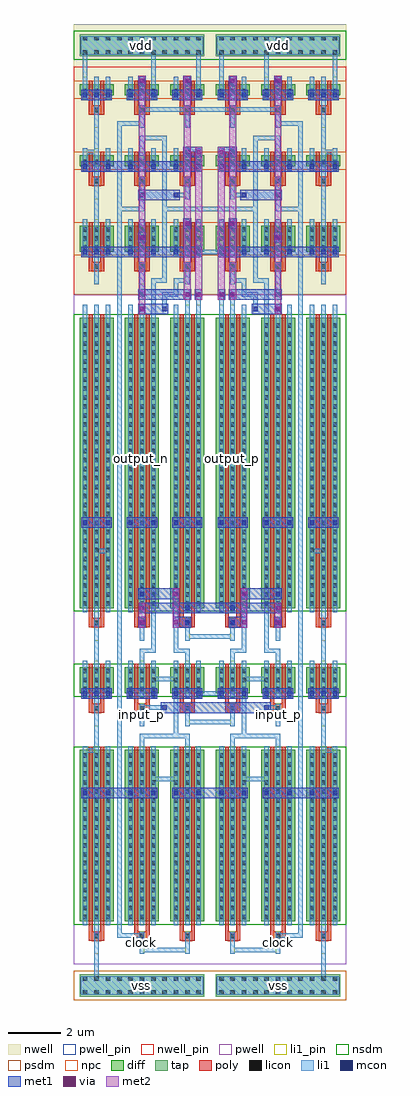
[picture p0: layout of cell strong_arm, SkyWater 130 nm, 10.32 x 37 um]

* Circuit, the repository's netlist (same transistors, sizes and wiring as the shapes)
* Substrate SPICE library
* This is a generated file. Be careful when editing manually: this file may be overwritten.


.SUBCKT nmos_tile_w6500_l150_nf2 sd_0 sd_1 sd_2 g_0 b

  Minst0 sd_0 g_0 sd_1 b nfet_01v8 l=0.150u mult=1 nf=1 w=6.500u

  Minst1 sd_1 g_0 sd_2 b nfet_01v8 l=0.150u mult=1 nf=1 w=6.500u


.ENDS nmos_tile_w6500_l150_nf2

.SUBCKT nmos_tile_w1000_l150_nf2 sd_0 sd_1 sd_2 g_0 b

  Minst0 sd_0 g_0 sd_1 b nfet_01v8 l=0.150u mult=1 nf=1 w=1.000u

  Minst1 sd_1 g_0 sd_2 b nfet_01v8 l=0.150u mult=1 nf=1 w=1.000u


.ENDS nmos_tile_w1000_l150_nf2

.SUBCKT nmos_tile_w11000_l150_nf2 sd_0 sd_1 sd_2 g_0 b

  Minst0 sd_0 g_0 sd_1 b nfet_01v8 l=0.150u mult=1 nf=1 w=11.000u

  Minst1 sd_1 g_0 sd_2 b nfet_01v8 l=0.150u mult=1 nf=1 w=11.000u


.ENDS nmos_tile_w11000_l150_nf2

.SUBCKT pmos_tile_w1000_l150_nf2 sd_0 sd_1 sd_2 g_0 b

  Minst0 sd_0 g_0 sd_1 b pfet_01v8 l=0.150u mult=1 nf=1 w=1.000u

  Minst1 sd_1 g_0 sd_2 b pfet_01v8 l=0.150u mult=1 nf=1 w=1.000u


.ENDS pmos_tile_w1000_l150_nf2

.SUBCKT pmos_tile_w420_l150_nf2 sd_0 sd_1 sd_2 g_0 b

  Minst0 sd_0 g_0 sd_1 b pfet_01v8 l=0.150u mult=1 nf=1 w=0.420u

  Minst1 sd_1 g_0 sd_2 b pfet_01v8 l=0.150u mult=1 nf=1 w=0.420u


.ENDS pmos_tile_w420_l150_nf2

.SUBCKT strong_arm_half top_io_input_p top_io_input_n top_io_output_p top_io_output_n top_io_clock top_io_vdd top_io_vss input_d_p input_d_n tail_d

  Xinst0 top_io_vss top_io_vss top_io_vss top_io_vss top_io_vss nmos_tile_w6500_l150_nf2
  Xinst1 top_io_vss tail_d top_io_vss top_io_clock top_io_vss nmos_tile_w6500_l150_nf2
  Xinst2 top_io_vss tail_d top_io_vss top_io_clock top_io_vss nmos_tile_w6500_l150_nf2
  Xinst3 tail_d input_d_n tail_d top_io_input_p top_io_vss nmos_tile_w1000_l150_nf2
  Xinst4 tail_d intp tail_d top_io_input_n top_io_vss nmos_tile_w1000_l150_nf2
  Xinst5 top_io_vss top_io_vss top_io_vss top_io_vss top_io_vss nmos_tile_w1000_l150_nf2
  Xinst6 input_d_n top_io_output_n input_d_n top_io_output_p top_io_vss nmos_tile_w11000_l150_nf2
  Xinst7 intp top_io_output_p intp top_io_output_n top_io_vss nmos_tile_w11000_l150_nf2
  Xinst8 top_io_vss top_io_vss top_io_vss top_io_vss top_io_vss nmos_tile_w11000_l150_nf2
  Xinst9 top_io_vdd top_io_output_n top_io_vdd top_io_output_p top_io_vdd pmos_tile_w1000_l150_nf2
  Xinst10 top_io_vdd top_io_output_p top_io_vdd top_io_output_n top_io_vdd pmos_tile_w1000_l150_nf2
  Xinst11 top_io_vdd top_io_vdd top_io_vdd top_io_vdd top_io_vdd pmos_tile_w1000_l150_nf2
  Xinst12 top_io_vdd top_io_output_n top_io_vdd top_io_clock top_io_vdd pmos_tile_w420_l150_nf2
  Xinst13 top_io_vdd top_io_output_p top_io_vdd top_io_clock top_io_vdd pmos_tile_w420_l150_nf2
  Xinst14 top_io_vdd top_io_vdd top_io_vdd top_io_vdd top_io_vdd pmos_tile_w420_l150_nf2
  Xinst15 top_io_vdd input_d_n top_io_vdd top_io_clock top_io_vdd pmos_tile_w420_l150_nf2
  Xinst16 top_io_vdd intp top_io_vdd top_io_clock top_io_vdd pmos_tile_w420_l150_nf2
  Xinst17 top_io_vdd top_io_vdd top_io_vdd top_io_vdd top_io_vdd pmos_tile_w420_l150_nf2

.ENDS strong_arm_half

.SUBCKT strong_arm input_p input_n output_p output_n clock vdd vss

  Xinst0 input_p input_n output_p output_n clock vdd vss input_d_p input_d_n tail_d strong_arm_half
  Xinst1 input_p input_n output_p output_n clock vdd vss input_d_p input_d_n tail_d strong_arm_half

.ENDS strong_arm

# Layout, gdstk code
from math import pi, radians
import gdstk
lib = gdstk.Library(unit=1e-6, precision=1e-09)
def R(c, l, rs):  # rectangles x0, y0, x1, y1
    for r in rs: c.add(gdstk.rectangle(r[:2], r[2:], *l))
def A(c, l, x, y, w, h, nx, ny, dx, dy):  # array of equal rectangles
    R(c, l, [(x+i*dx, y+j*dy, x+i*dx+w, y+j*dy+h) for i in range(nx) for j in range(ny)])
nwell_pin = (64, 16)
nwell = (64, 20)
pwell = (64, 44)
diff = (65, 20)
tap = (65, 44)
poly = (66, 20)
licon = (66, 44)
li1_pin = (67, 16)
li1 = (67, 20)
mcon = (67, 44)
met1 = (68, 20)
via = (68, 44)
met2 = (69, 20)
nsdm = (93, 44)
psdm = (94, 20)
npc = (95, 20)
pwell_pin = (122, 16)

ptap_tile_x11_y2 = lib.new_cell('ptap_tile_x11_y2')
R(ptap_tile_x11_y2, tap, [(-0.205,-0.15,4.505,0.69)])
A(ptap_tile_x11_y2, licon, -0.085, -0.085, 0.17, 0.17, 11, 2, 0.43, 0.54)
R(ptap_tile_x11_y2, li1_pin, [(-0.165,-0.085,4.465,0.625)])
R(ptap_tile_x11_y2, li1, [(-0.165,-0.085,4.465,0.625)])
R(ptap_tile_x11_y2, psdm, [(-0.43,-0.28,4.73,0.82)])
ptap_tile_x11_y2.add(gdstk.Label('vnb', (2.15,0.27), layer=67, texttype=5))

ptap_tile = lib.new_cell('ptap_tile')
R(ptap_tile, li1_pin, [(-0.165,-0.085,4.465,0.625)])
ptap_tile.add(gdstk.Reference(ptap_tile_x11_y2, (0,0)))
ptap_tile.add(gdstk.Label('x', (2.15,0.27), layer=67, texttype=5))

ntap_tile_x11_y2 = lib.new_cell('ntap_tile_x11_y2')
R(ntap_tile_x11_y2, nwell, [(-0.43,-0.54,4.73,1.08)])
R(ntap_tile_x11_y2, tap, [(-0.205,-0.15,4.505,0.69)])
A(ntap_tile_x11_y2, licon, -0.085, -0.085, 0.17, 0.17, 11, 2, 0.43, 0.54)
R(ntap_tile_x11_y2, li1_pin, [(-0.165,-0.085,4.465,0.625)])
R(ntap_tile_x11_y2, li1, [(-0.165,-0.085,4.465,0.625)])
R(ntap_tile_x11_y2, nsdm, [(-0.43,-0.28,4.73,0.82)])
ntap_tile_x11_y2.add(gdstk.Label('vpb', (2.15,0.27), layer=67, texttype=5))

ntap_tile = lib.new_cell('ntap_tile')
R(ntap_tile, li1_pin, [(-0.165,-0.085,4.465,0.625)])
ntap_tile.add(gdstk.Reference(ntap_tile_x11_y2, (0,0)))
ntap_tile.add(gdstk.Label('x', (2.15,0.27), layer=67, texttype=5))

nmos_tile_w6500_l150_nf2 = lib.new_cell('nmos_tile_w6500_l150_nf2')
R(nmos_tile_w6500_l150_nf2, pwell, [(0,-1.62,1.72,7.02)])
R(nmos_tile_w6500_l150_nf2, diff, [(0.215,0,1.505,6.5)])
R(nmos_tile_w6500_l150_nf2, poly, [(0.57,-0.735,0.945,-0.385), (0.57,-0.735,0.72,6.63), (0.775,-0.735,1.15,-0.385), (1,-0.735,1.15,6.63)])
A(nmos_tile_w6500_l150_nf2, licon, 0.345, 0.08, 0.17, 0.17, 3, 19, 0.43, 0.34)
R(nmos_tile_w6500_l150_nf2, licon, [(0.775,-0.645,0.945,-0.475)])
A(nmos_tile_w6500_l150_nf2, li1_pin, 0.345, -0.155, 0.17, 6.79, 3, 1, 0.43, 0)
R(nmos_tile_w6500_l150_nf2, li1_pin, [(0.775,-1.235,0.945,-0.385)])
A(nmos_tile_w6500_l150_nf2, li1, 0.345, -0.155, 0.17, 6.79, 3, 1, 0.43, 0)
R(nmos_tile_w6500_l150_nf2, li1, [(0.775,-1.235,0.945,-0.385)])
R(nmos_tile_w6500_l150_nf2, nsdm, [(0,-0.13,1.72,6.63)])
R(nmos_tile_w6500_l150_nf2, npc, [(0.675,-0.745,1.045,-0.375)])
R(nmos_tile_w6500_l150_nf2, pwell_pin, [(0,-1.62,1.72,7.02)])
nmos_tile_w6500_l150_nf2.add(gdstk.Label('sd_0', (0.43,3.24), layer=67, texttype=5))
nmos_tile_w6500_l150_nf2.add(gdstk.Label('sd_1', (0.86,3.24), layer=67, texttype=5))
nmos_tile_w6500_l150_nf2.add(gdstk.Label('sd_2', (1.29,3.24), layer=67, texttype=5))
nmos_tile_w6500_l150_nf2.add(gdstk.Label('g_0', (0.86,-0.81), layer=67, texttype=5))
nmos_tile_w6500_l150_nf2.add(gdstk.Label('b', (0.86,2.7), layer=64, texttype=59))

two_finger_mos_tile = lib.new_cell('two_finger_mos_tile')
A(two_finger_mos_tile, li1_pin, 0.345, -0.155, 0.17, 6.79, 3, 1, 0.43, 0)
R(two_finger_mos_tile, li1_pin, [(0.775,-1.235,0.945,-0.385)])
R(two_finger_mos_tile, li1, [(0.345,4.775,0.515,4.945), (0.345,4.775,0.515,4.945), (1.205,4.775,1.375,4.945), (1.205,4.775,1.375,4.945)])
R(two_finger_mos_tile, mcon, [(0.345,4.775,0.515,4.945), (1.205,4.775,1.375,4.945)])
R(two_finger_mos_tile, met1, [(0.285,4.66,0.575,5.06), (0.345,4.66,0.945,5.06), (0.775,4.66,1.375,5.06), (1.145,4.66,1.435,5.06)])
R(two_finger_mos_tile, pwell_pin, [(0,-1.62,1.72,7.02)])
two_finger_mos_tile.add(gdstk.Reference(nmos_tile_w6500_l150_nf2, (0,0)))
two_finger_mos_tile.add(gdstk.Label('d', (0.86,3.24), layer=67, texttype=5))
two_finger_mos_tile.add(gdstk.Label('g', (0.86,-0.81), layer=67, texttype=5))
two_finger_mos_tile.add(gdstk.Label('s', (1.29,3.24), layer=67, texttype=5))
two_finger_mos_tile.add(gdstk.Label('s', (0.43,3.24), layer=67, texttype=5))
two_finger_mos_tile.add(gdstk.Label('b', (0.86,2.7), layer=64, texttype=59))

nmos_tile_w1000_l150_nf2 = lib.new_cell('nmos_tile_w1000_l150_nf2')
R(nmos_tile_w1000_l150_nf2, pwell, [(0,-1.62,1.72,1.62)])
R(nmos_tile_w1000_l150_nf2, diff, [(0.215,0,1.505,1)])
R(nmos_tile_w1000_l150_nf2, poly, [(0.57,-0.735,0.945,-0.385), (0.57,-0.735,0.72,1.13), (0.775,-0.735,1.15,-0.385), (1,-0.735,1.15,1.13)])
A(nmos_tile_w1000_l150_nf2, licon, 0.345, 0.08, 0.17, 0.17, 3, 3, 0.43, 0.34)
R(nmos_tile_w1000_l150_nf2, licon, [(0.775,-0.645,0.945,-0.475)])
A(nmos_tile_w1000_l150_nf2, li1_pin, 0.345, -0.155, 0.17, 1.39, 3, 1, 0.43, 0)
R(nmos_tile_w1000_l150_nf2, li1_pin, [(0.775,-1.235,0.945,-0.385)])
A(nmos_tile_w1000_l150_nf2, li1, 0.345, -0.155, 0.17, 1.39, 3, 1, 0.43, 0)
R(nmos_tile_w1000_l150_nf2, li1, [(0.775,-1.235,0.945,-0.385)])
R(nmos_tile_w1000_l150_nf2, nsdm, [(0,-0.13,1.72,1.13)])
R(nmos_tile_w1000_l150_nf2, npc, [(0.675,-0.745,1.045,-0.375)])
R(nmos_tile_w1000_l150_nf2, pwell_pin, [(0,-1.62,1.72,1.62)])
nmos_tile_w1000_l150_nf2.add(gdstk.Label('sd_0', (0.43,0.54), layer=67, texttype=5))
nmos_tile_w1000_l150_nf2.add(gdstk.Label('sd_1', (0.86,0.54), layer=67, texttype=5))
nmos_tile_w1000_l150_nf2.add(gdstk.Label('sd_2', (1.29,0.54), layer=67, texttype=5))
nmos_tile_w1000_l150_nf2.add(gdstk.Label('g_0', (0.86,-0.81), layer=67, texttype=5))
nmos_tile_w1000_l150_nf2.add(gdstk.Label('b', (0.86,0), layer=64, texttype=59))

two_finger_mos_tile_1 = lib.new_cell('two_finger_mos_tile_1')
A(two_finger_mos_tile_1, li1_pin, 0.345, -0.155, 0.17, 1.39, 3, 1, 0.43, 0)
R(two_finger_mos_tile_1, li1_pin, [(0.775,-1.235,0.945,-0.385)])
R(two_finger_mos_tile_1, li1, [(0.345,-0.085,0.515,0.085), (0.345,-0.085,0.515,0.085), (1.205,-0.085,1.375,0.085), (1.205,-0.085,1.375,0.085)])
R(two_finger_mos_tile_1, mcon, [(0.345,-0.085,0.515,0.085), (1.205,-0.085,1.375,0.085)])
R(two_finger_mos_tile_1, met1, [(0.285,-0.2,0.575,0.2), (0.345,-0.2,0.945,0.2), (0.775,-0.2,1.375,0.2), (1.145,-0.2,1.435,0.2)])
R(two_finger_mos_tile_1, pwell_pin, [(0,-1.62,1.72,1.62)])
two_finger_mos_tile_1.add(gdstk.Reference(nmos_tile_w1000_l150_nf2, (0,0)))
two_finger_mos_tile_1.add(gdstk.Label('d', (0.86,0.54), layer=67, texttype=5))
two_finger_mos_tile_1.add(gdstk.Label('g', (0.86,-0.81), layer=67, texttype=5))
two_finger_mos_tile_1.add(gdstk.Label('s', (1.29,0.54), layer=67, texttype=5))
two_finger_mos_tile_1.add(gdstk.Label('s', (0.43,0.54), layer=67, texttype=5))
two_finger_mos_tile_1.add(gdstk.Label('b', (0.86,0), layer=64, texttype=59))

nmos_tile_w11000_l150_nf = lib.new_cell('nmos_tile_w11000_l150_nf2')
R(nmos_tile_w11000_l150_nf, pwell, [(0,-1.62,1.72,11.88)])
R(nmos_tile_w11000_l150_nf, diff, [(0.215,0,1.505,11)])
R(nmos_tile_w11000_l150_nf, poly, [(0.57,-0.735,0.945,-0.385), (0.57,-0.735,0.72,11.13), (0.775,-0.735,1.15,-0.385), (1,-0.735,1.15,11.13)])
A(nmos_tile_w11000_l150_nf, licon, 0.345, 0.08, 0.17, 0.17, 3, 32, 0.43, 0.34)
R(nmos_tile_w11000_l150_nf, licon, [(0.775,-0.645,0.945,-0.475)])
A(nmos_tile_w11000_l150_nf, li1_pin, 0.345, -0.155, 0.17, 11.65, 3, 1, 0.43, 0)
R(nmos_tile_w11000_l150_nf, li1_pin, [(0.775,-1.235,0.945,-0.385)])
A(nmos_tile_w11000_l150_nf, li1, 0.345, -0.155, 0.17, 11.65, 3, 1, 0.43, 0)
R(nmos_tile_w11000_l150_nf, li1, [(0.775,-1.235,0.945,-0.385)])
R(nmos_tile_w11000_l150_nf, nsdm, [(0,-0.13,1.72,11.13)])
R(nmos_tile_w11000_l150_nf, npc, [(0.675,-0.745,1.045,-0.375)])
R(nmos_tile_w11000_l150_nf, pwell_pin, [(0,-1.62,1.72,11.88)])
nmos_tile_w11000_l150_nf.add(gdstk.Label('sd_0', (0.43,5.67), layer=67, texttype=5))
nmos_tile_w11000_l150_nf.add(gdstk.Label('sd_1', (0.86,5.67), layer=67, texttype=5))
nmos_tile_w11000_l150_nf.add(gdstk.Label('sd_2', (1.29,5.67), layer=67, texttype=5))
nmos_tile_w11000_l150_nf.add(gdstk.Label('g_0', (0.86,-0.81), layer=67, texttype=5))
nmos_tile_w11000_l150_nf.add(gdstk.Label('b', (0.86,5.13), layer=64, texttype=59))

two_finger_mos_tile_2 = lib.new_cell('two_finger_mos_tile_2')
A(two_finger_mos_tile_2, li1_pin, 0.345, -0.155, 0.17, 11.65, 3, 1, 0.43, 0)
R(two_finger_mos_tile_2, li1_pin, [(0.775,-1.235,0.945,-0.385)])
R(two_finger_mos_tile_2, li1, [(0.345,3.155,0.515,3.325), (0.345,3.155,0.515,3.325), (1.205,3.155,1.375,3.325), (1.205,3.155,1.375,3.325)])
R(two_finger_mos_tile_2, mcon, [(0.345,3.155,0.515,3.325), (1.205,3.155,1.375,3.325)])
R(two_finger_mos_tile_2, met1, [(0.285,3.04,0.575,3.44), (0.345,3.04,0.945,3.44), (0.775,3.04,1.375,3.44), (1.145,3.04,1.435,3.44)])
R(two_finger_mos_tile_2, pwell_pin, [(0,-1.62,1.72,11.88)])
two_finger_mos_tile_2.add(gdstk.Reference(nmos_tile_w11000_l150_nf, (0,0)))
two_finger_mos_tile_2.add(gdstk.Label('d', (0.86,5.67), layer=67, texttype=5))
two_finger_mos_tile_2.add(gdstk.Label('g', (0.86,-0.81), layer=67, texttype=5))
two_finger_mos_tile_2.add(gdstk.Label('s', (1.29,5.67), layer=67, texttype=5))
two_finger_mos_tile_2.add(gdstk.Label('s', (0.43,5.67), layer=67, texttype=5))
two_finger_mos_tile_2.add(gdstk.Label('b', (0.86,5.13), layer=64, texttype=59))

pmos_tile_w1000_l150_nf2 = lib.new_cell('pmos_tile_w1000_l150_nf2')
R(pmos_tile_w1000_l150_nf2, nwell_pin, [(0,-1.62,1.72,1.62)])
R(pmos_tile_w1000_l150_nf2, nwell, [(0,-1.62,1.72,1.62)])
R(pmos_tile_w1000_l150_nf2, diff, [(0.215,0,1.505,1)])
R(pmos_tile_w1000_l150_nf2, poly, [(0.57,-0.735,0.945,-0.385), (0.57,-0.735,0.72,1.13), (0.775,-0.735,1.15,-0.385), (1,-0.735,1.15,1.13)])
A(pmos_tile_w1000_l150_nf2, licon, 0.345, 0.08, 0.17, 0.17, 3, 3, 0.43, 0.34)
R(pmos_tile_w1000_l150_nf2, licon, [(0.775,-0.645,0.945,-0.475)])
A(pmos_tile_w1000_l150_nf2, li1_pin, 0.345, -0.155, 0.17, 1.39, 3, 1, 0.43, 0)
R(pmos_tile_w1000_l150_nf2, li1_pin, [(0.775,-1.235,0.945,-0.385)])
A(pmos_tile_w1000_l150_nf2, li1, 0.345, -0.155, 0.17, 1.39, 3, 1, 0.43, 0)
R(pmos_tile_w1000_l150_nf2, li1, [(0.775,-1.235,0.945,-0.385)])
R(pmos_tile_w1000_l150_nf2, psdm, [(0,-0.13,1.72,1.13)])
R(pmos_tile_w1000_l150_nf2, npc, [(0.675,-0.745,1.045,-0.375)])
pmos_tile_w1000_l150_nf2.add(gdstk.Label('sd_0', (0.43,0.54), layer=67, texttype=5))
pmos_tile_w1000_l150_nf2.add(gdstk.Label('sd_1', (0.86,0.54), layer=67, texttype=5))
pmos_tile_w1000_l150_nf2.add(gdstk.Label('sd_2', (1.29,0.54), layer=67, texttype=5))
pmos_tile_w1000_l150_nf2.add(gdstk.Label('g_0', (0.86,-0.81), layer=67, texttype=5))
pmos_tile_w1000_l150_nf2.add(gdstk.Label('b', (0.86,0), layer=64, texttype=5))

two_finger_mos_tile_3 = lib.new_cell('two_finger_mos_tile_3')
R(two_finger_mos_tile_3, nwell_pin, [(0,-1.62,1.72,1.62)])
A(two_finger_mos_tile_3, li1_pin, 0.345, -0.155, 0.17, 1.39, 3, 1, 0.43, 0)
R(two_finger_mos_tile_3, li1_pin, [(0.775,-1.235,0.945,-0.385)])
R(two_finger_mos_tile_3, li1, [(0.345,-0.085,0.515,0.085), (0.345,-0.085,0.515,0.085), (1.205,-0.085,1.375,0.085), (1.205,-0.085,1.375,0.085)])
R(two_finger_mos_tile_3, mcon, [(0.345,-0.085,0.515,0.085), (1.205,-0.085,1.375,0.085)])
R(two_finger_mos_tile_3, met1, [(0.285,-0.2,0.575,0.2), (0.345,-0.2,0.945,0.2), (0.775,-0.2,1.375,0.2), (1.145,-0.2,1.435,0.2)])
two_finger_mos_tile_3.add(gdstk.Reference(pmos_tile_w1000_l150_nf2, (0,0)))
two_finger_mos_tile_3.add(gdstk.Label('d', (0.86,0.54), layer=67, texttype=5))
two_finger_mos_tile_3.add(gdstk.Label('g', (0.86,-0.81), layer=67, texttype=5))
two_finger_mos_tile_3.add(gdstk.Label('s', (1.29,0.54), layer=67, texttype=5))
two_finger_mos_tile_3.add(gdstk.Label('s', (0.43,0.54), layer=67, texttype=5))
two_finger_mos_tile_3.add(gdstk.Label('b', (0.86,0), layer=64, texttype=5))

pmos_tile_w420_l150_nf2 = lib.new_cell('pmos_tile_w420_l150_nf2')
R(pmos_tile_w420_l150_nf2, nwell_pin, [(0,-1.62,1.72,1.08)])
R(pmos_tile_w420_l150_nf2, nwell, [(0,-1.62,1.72,1.08)])
R(pmos_tile_w420_l150_nf2, diff, [(0.215,0,1.505,0.42)])
R(pmos_tile_w420_l150_nf2, poly, [(0.57,-0.735,0.945,-0.385), (0.57,-0.735,0.72,0.55), (0.775,-0.735,1.15,-0.385), (1,-0.735,1.15,0.55)])
A(pmos_tile_w420_l150_nf2, licon, 0.345, 0.08, 0.17, 0.17, 3, 1, 0.43, 0)
R(pmos_tile_w420_l150_nf2, licon, [(0.775,-0.645,0.945,-0.475)])
A(pmos_tile_w420_l150_nf2, li1_pin, 0.345, -0.155, 0.17, 0.85, 3, 1, 0.43, 0)
R(pmos_tile_w420_l150_nf2, li1_pin, [(0.775,-1.235,0.945,-0.385)])
A(pmos_tile_w420_l150_nf2, li1, 0.345, -0.155, 0.17, 0.85, 3, 1, 0.43, 0)
R(pmos_tile_w420_l150_nf2, li1, [(0.775,-1.235,0.945,-0.385)])
R(pmos_tile_w420_l150_nf2, psdm, [(0,-0.13,1.72,0.55)])
R(pmos_tile_w420_l150_nf2, npc, [(0.675,-0.745,1.045,-0.375)])
pmos_tile_w420_l150_nf2.add(gdstk.Label('sd_0', (0.43,0.27), layer=67, texttype=5))
pmos_tile_w420_l150_nf2.add(gdstk.Label('sd_1', (0.86,0.27), layer=67, texttype=5))
pmos_tile_w420_l150_nf2.add(gdstk.Label('sd_2', (1.29,0.27), layer=67, texttype=5))
pmos_tile_w420_l150_nf2.add(gdstk.Label('g_0', (0.86,-0.81), layer=67, texttype=5))
pmos_tile_w420_l150_nf2.add(gdstk.Label('b', (0.86,-0.27), layer=64, texttype=5))

two_finger_mos_tile_4 = lib.new_cell('two_finger_mos_tile_4')
R(two_finger_mos_tile_4, nwell_pin, [(0,-1.62,1.72,1.08)])
A(two_finger_mos_tile_4, li1_pin, 0.345, -0.155, 0.17, 0.85, 3, 1, 0.43, 0)
R(two_finger_mos_tile_4, li1_pin, [(0.775,-1.235,0.945,-0.385)])
R(two_finger_mos_tile_4, li1, [(0.345,-0.085,0.515,0.085), (0.345,-0.085,0.515,0.085), (1.205,-0.085,1.375,0.085), (1.205,-0.085,1.375,0.085)])
R(two_finger_mos_tile_4, mcon, [(0.345,-0.085,0.515,0.085), (1.205,-0.085,1.375,0.085)])
R(two_finger_mos_tile_4, met1, [(0.285,-0.2,0.575,0.2), (0.345,-0.2,0.945,0.2), (0.775,-0.2,1.375,0.2), (1.145,-0.2,1.435,0.2)])
two_finger_mos_tile_4.add(gdstk.Reference(pmos_tile_w420_l150_nf2, (0,0)))
two_finger_mos_tile_4.add(gdstk.Label('d', (0.86,0.27), layer=67, texttype=5))
two_finger_mos_tile_4.add(gdstk.Label('g', (0.86,-0.81), layer=67, texttype=5))
two_finger_mos_tile_4.add(gdstk.Label('s', (1.29,0.27), layer=67, texttype=5))
two_finger_mos_tile_4.add(gdstk.Label('s', (0.43,0.27), layer=67, texttype=5))
two_finger_mos_tile_4.add(gdstk.Label('b', (0.86,-0.27), layer=64, texttype=5))

strong_arm_half = lib.new_cell('strong_arm_half')
R(strong_arm_half, li1_pin, [(-0.165,-35.725,4.465,-35.015), (2.065,-34.175,2.235,-33.325), (2.065,-33.095,2.235,-26.305), (2.065,-25.535,2.235,-24.685), (3.785,-25.535,3.955,-24.685), (2.065,-24.455,2.235,-23.065), (3.785,-24.455,3.955,-23.065), (2.065,-21.215,2.235,-9.565), (3.785,-21.215,3.955,-9.565), (-0.165,-0.085,4.465,0.625)])
A(strong_arm_half, li1, 2.065, -34.105, 0.6, 0.17, 4, 2, 0.43, 8.1)
A(strong_arm_half, li1, 1.205, -33.565, 0.17, 0.71, 1, 13, 0, 0.54)
A(strong_arm_half, li1, 0.345, -26.545, 0.17, 0.71, 3, 2, 0.86, 3.24)
A(strong_arm_half, li1, 1.205, -26.005, 0.17, 0.71, 1, 5, 0, 0.54)
A(strong_arm_half, li1, 3.355, -26.005, 0.17, 0.71, 1, 3, 0, 0.54)
A(strong_arm_half, li1, 1.205, -22.765, 0.17, 0.71, 1, 31, 0, 0.54)
A(strong_arm_half, li1, 2.495, -22.765, 0.17, 0.71, 1, 3, 0, 0.54)
A(strong_arm_half, li1, 3.355, -22.765, 0.17, 0.71, 1, 3, 0, 0.54)
A(strong_arm_half, li1, 2.925, -8.725, 0.17, 0.71, 1, 5, 0, 0.54)
A(strong_arm_half, li1, 0.345, -8.185, 0.17, 0.71, 1, 4, 0, 1.62)
A(strong_arm_half, li1, 0.345, -6.025, 0.17, 0.71, 4, 2, 0.86, 2.16)
A(strong_arm_half, li1, 1.205, -5.485, 0.17, 0.71, 1, 3, 0, 0.54)
A(strong_arm_half, li1, 2.925, -5.485, 0.17, 0.71, 1, 3, 0, 0.54)
A(strong_arm_half, li1, 2.065, -2.245, 0.6, 0.17, 4, 1, 0.43, 0)
R(strong_arm_half, li1, [(0.345,-35.185,0.515,-34.475), (0.345,-34.645,0.515,-33.935), (0.345,-33.565,0.515,-32.855), (1.205,-33.565,1.805,-33.395), (1.635,-33.565,2.235,-33.395), (2.495,-27.625,3.095,-27.455), (2.925,-27.625,3.525,-27.455), (-0.085,-26.545,0.515,-26.375), (3.785,-26.545,3.955,-25.835), (0.345,-26.005,0.515,-25.295), (0.345,-24.925,0.515,-24.215), (0.345,-24.385,0.515,-24.215), (0.345,-24.385,0.515,-24.215), (2.495,-23.845,3.095,-23.675), (2.925,-23.845,3.525,-23.675), (3.785,-23.305,3.955,-22.595), (0.345,-22.765,0.515,-22.055), (2.065,-22.765,2.665,-22.595), (3.355,-22.765,3.955,-22.595), (0.345,-21.685,0.515,-20.975), (2.065,-21.685,2.235,-21.515), (2.065,-21.685,2.235,-21.515), (3.785,-21.685,3.955,-21.515), (3.785,-21.685,3.955,-21.515), (3.785,-21.145,3.955,-20.975), (3.785,-21.145,3.955,-20.975), (2.065,-20.605,2.235,-20.435), (2.065,-20.605,2.235,-20.435), (0.345,-18.985,0.945,-18.815), (2.065,-9.805,2.235,-9.635), (2.065,-9.805,2.235,-9.635), (2.495,-9.805,2.665,-9.095), (2.925,-9.805,3.095,-9.095), (2.925,-9.805,3.095,-9.635), (2.925,-9.805,3.095,-9.635), (3.785,-9.805,3.955,-9.095), (4.215,-9.805,4.385,-9.095), (2.065,-9.265,2.235,-8.555), (2.065,-9.265,2.235,-9.095), (2.065,-9.265,2.235,-9.095), (2.495,-9.265,2.665,-8.555), (2.925,-9.265,3.525,-9.095), (3.355,-9.265,3.525,-8.555), (3.785,-9.265,3.955,-9.095), (3.785,-9.265,3.955,-9.095), (4.215,-9.265,4.385,-9.095), (4.215,-9.265,4.385,-9.095), (2.495,-8.725,3.095,-8.555), (3.355,-8.725,3.955,-8.555), (0.345,-7.645,0.515,-7.475), (0.345,-7.645,0.515,-7.475), (2.065,-7.105,2.235,-6.935), (2.065,-7.105,2.235,-6.935), (3.785,-6.565,3.955,-6.395), (3.785,-6.565,3.955,-6.395), (1.205,-6.025,1.805,-5.855), (1.635,-6.025,2.235,-5.855), (2.065,-5.485,2.235,-5.315), (2.065,-5.485,2.235,-5.315), (3.355,-5.485,3.955,-5.315), (3.355,-5.485,3.525,-5.315), (3.355,-5.485,3.525,-5.315), (-0.085,-3.865,0.515,-3.695), (3.785,-3.865,3.955,-3.695), (3.785,-3.865,3.955,-3.695), (1.205,-3.325,1.375,-2.615), (2.065,-3.325,2.665,-3.155), (2.495,-3.325,3.095,-3.155), (1.205,-2.785,1.805,-2.615), (1.635,-2.785,2.235,-2.615), (0.345,-2.245,0.515,-1.535), (0.345,-1.705,0.515,-1.535), (0.345,-1.705,0.515,-1.535), (-0.085,-1.165,0.085,-0.455), (2.065,-1.165,2.235,-0.995), (2.065,-1.165,2.235,-0.995), (2.495,-1.165,2.665,-0.455), (3.785,-1.165,3.955,-0.995), (3.785,-1.165,3.955,-0.995), (4.215,-1.165,4.385,-0.455), (-0.085,-0.625,0.085,0.085), (2.495,-0.625,2.665,0.085), (4.215,-0.625,4.385,0.085)])
A(strong_arm_half, mcon, 3.785, -9.265, 0.17, 0.17, 1, 4, 0, 2.7)
R(strong_arm_half, mcon, [(0.345,-24.385,0.515,-24.215), (2.065,-21.685,2.235,-21.515), (3.785,-21.685,3.955,-21.515), (3.785,-21.145,3.955,-20.975), (2.065,-20.605,2.235,-20.435), (2.065,-9.805,2.235,-9.635), (2.925,-9.805,3.095,-9.635), (2.065,-9.265,2.235,-9.095), (4.215,-9.265,4.385,-9.095), (0.345,-7.645,0.515,-7.475), (2.065,-7.105,2.235,-6.935), (2.065,-5.485,2.235,-5.315), (3.355,-5.485,3.525,-5.315), (0.345,-1.705,0.515,-1.535), (2.065,-1.165,2.235,-0.995)])
A(strong_arm_half, met1, 2.065, -21.26, 0.6, 0.4, 4, 2, 0.43, 11.88)
A(strong_arm_half, met1, 2.065, -20.72, 0.6, 0.4, 3, 2, 0.43, 15.12)
A(strong_arm_half, met1, 3.725, -9.38, 0.29, 0.4, 1, 4, 0, 2.7)
R(strong_arm_half, met1, [(0.775,-28.28,1.375,-27.88), (1.205,-28.28,1.805,-27.88), (0.285,-24.5,0.575,-24.1), (2.005,-21.8,2.295,-21.4), (2.02,-21.8,2.28,-21.4), (2.065,-21.8,2.235,-21.4), (3.31,-21.8,3.57,-21.4), (3.355,-21.8,3.955,-21.4), (3.355,-21.8,3.525,-21.4), (3.725,-21.8,4.015,-21.4), (2.02,-21.26,2.28,-20.86), (2.065,-21.26,2.235,-20.86), (3.725,-21.26,4.015,-20.86), (2.005,-20.72,2.295,-20.32), (3.31,-20.72,3.57,-20.32), (3.355,-20.72,3.525,-20.32), (2.005,-9.92,2.295,-9.52), (2.02,-9.92,2.28,-9.52), (2.065,-9.92,2.665,-9.52), (2.065,-9.92,2.235,-9.52), (2.495,-9.92,3.095,-9.52), (2.865,-9.92,3.155,-9.52), (2.005,-9.38,2.295,-8.98), (3.74,-9.38,4,-8.98), (3.785,-9.38,3.955,-8.98), (4.155,-9.38,4.445,-8.98), (4.17,-9.38,4.43,-8.98), (4.215,-9.38,4.385,-8.98), (0.285,-7.76,0.575,-7.36), (0.775,-7.76,1.375,-7.36), (1.205,-7.76,1.805,-7.36), (2.495,-7.76,3.095,-7.36), (2.925,-7.76,3.525,-7.36), (2.005,-7.22,2.295,-6.82), (2.02,-7.22,2.28,-6.82), (2.065,-7.22,2.235,-6.82), (3.74,-6.68,4,-6.28), (3.785,-6.68,3.955,-6.28), (2.005,-5.6,2.295,-5.2), (3.295,-5.6,3.585,-5.2), (0.775,-4.52,1.375,-4.12), (1.205,-4.52,1.805,-4.12), (2.495,-4.52,3.095,-4.12), (2.925,-4.52,3.525,-4.12), (3.785,-3.98,4.385,-3.58), (4.17,-3.98,4.43,-3.58), (4.215,-3.98,4.385,-3.58), (0.285,-1.82,0.575,-1.42), (2.005,-1.28,2.295,-0.88), (2.02,-1.28,2.28,-0.88), (2.065,-1.28,2.235,-0.88), (3.74,-1.28,4,-0.88), (3.785,-1.28,3.955,-0.88)])
R(strong_arm_half, via, [(2.075,-21.675,2.225,-21.525), (3.365,-21.675,3.515,-21.525), (2.075,-21.135,2.225,-20.985), (3.365,-20.595,3.515,-20.445), (2.075,-9.795,2.225,-9.645), (3.795,-9.255,3.945,-9.105), (4.225,-9.255,4.375,-9.105), (2.075,-7.095,2.225,-6.945), (3.795,-6.555,3.945,-6.405), (4.225,-3.855,4.375,-3.705), (2.075,-1.155,2.225,-1.005), (3.795,-1.155,3.945,-1.005)])
A(strong_arm_half, met2, 2.02, -9.85, 0.26, 0.8, 1, 16, 0, 0.54)
A(strong_arm_half, met2, 3.74, -9.31, 0.26, 0.8, 1, 15, 0, 0.54)
A(strong_arm_half, met2, 4.17, -9.31, 0.26, 0.8, 1, 10, 0, 0.54)
R(strong_arm_half, met2, [(2.02,-21.8,2.28,-21.4), (3.31,-21.8,3.57,-21.4), (2.02,-21.73,2.28,-20.93), (3.31,-21.73,3.57,-20.93), (2.02,-21.26,2.28,-20.86), (3.31,-21.19,3.57,-20.39), (3.31,-20.72,3.57,-20.32), (2.02,-9.92,2.28,-9.52), (3.74,-9.38,4,-8.98), (4.17,-9.38,4.43,-8.98), (2.02,-7.22,2.28,-6.82), (3.74,-6.68,4,-6.28), (4.17,-3.98,4.43,-3.58), (2.02,-1.28,2.28,-0.88), (3.74,-1.28,4,-0.88)])
strong_arm_half.add(gdstk.Reference(ptap_tile, (0,-35.64)))
strong_arm_half.add(gdstk.Reference(ntap_tile, (0,0)))
strong_arm_half.add(gdstk.Reference(two_finger_mos_tile, (1.29,-32.94)))
strong_arm_half.add(gdstk.Reference(two_finger_mos_tile, (3.01,-32.94)))
strong_arm_half.add(gdstk.Reference(two_finger_mos_tile, (-0.43,-32.94)))
strong_arm_half.add(gdstk.Reference(two_finger_mos_tile_1, (1.29,-24.3)))
strong_arm_half.add(gdstk.Reference(two_finger_mos_tile_1, (3.01,-24.3)))
strong_arm_half.add(gdstk.Reference(two_finger_mos_tile_1, (-0.43,-24.3)))
strong_arm_half.add(gdstk.Reference(two_finger_mos_tile_2, (1.29,-21.06)))
strong_arm_half.add(gdstk.Reference(two_finger_mos_tile_2, (3.01,-21.06)))
strong_arm_half.add(gdstk.Reference(two_finger_mos_tile_2, (-0.43,-21.06)))
strong_arm_half.add(gdstk.Reference(two_finger_mos_tile_3, (1.29,-7.56)))
strong_arm_half.add(gdstk.Reference(two_finger_mos_tile_3, (3.01,-7.56)))
strong_arm_half.add(gdstk.Reference(two_finger_mos_tile_3, (-0.43,-7.56)))
strong_arm_half.add(gdstk.Reference(two_finger_mos_tile_4, (1.29,-1.62)))
strong_arm_half.add(gdstk.Reference(two_finger_mos_tile_4, (3.01,-1.62)))
strong_arm_half.add(gdstk.Reference(two_finger_mos_tile_4, (-0.43,-1.62)))
strong_arm_half.add(gdstk.Reference(two_finger_mos_tile_4, (1.29,-4.32)))
strong_arm_half.add(gdstk.Reference(two_finger_mos_tile_4, (3.01,-4.32)))
strong_arm_half.add(gdstk.Reference(two_finger_mos_tile_4, (-0.43,-4.32)))
strong_arm_half.add(gdstk.Label('top_io_input_p', (2.15,-25.11), layer=67, texttype=5))
strong_arm_half.add(gdstk.Label('top_io_input_n', (3.87,-25.11), layer=67, texttype=5))
strong_arm_half.add(gdstk.Label('top_io_output_p', (3.87,-15.39), layer=67, texttype=5))
strong_arm_half.add(gdstk.Label('top_io_output_n', (2.15,-15.39), layer=67, texttype=5))
strong_arm_half.add(gdstk.Label('top_io_clock', (2.15,-33.75), layer=67, texttype=5))
strong_arm_half.add(gdstk.Label('top_io_vdd', (2.15,0.27), layer=67, texttype=5))
strong_arm_half.add(gdstk.Label('top_io_vss', (2.15,-35.37), layer=67, texttype=5))
strong_arm_half.add(gdstk.Label('input_d_p', (3.87,-23.76), layer=67, texttype=5))
strong_arm_half.add(gdstk.Label('input_d_n', (2.15,-23.76), layer=67, texttype=5))
strong_arm_half.add(gdstk.Label('tail_d', (2.15,-29.7), layer=67, texttype=5))

strong_arm = lib.new_cell('strong_arm')
A(strong_arm, li1_pin, 2.065, -25.535, 0.17, 0.85, 4, 1, 1.72, 0)
A(strong_arm, li1_pin, 2.065, -21.215, 0.17, 11.65, 4, 1, 1.72, 0)
R(strong_arm, li1_pin, [(-0.165,-35.725,4.465,-35.015), (4.995,-35.725,9.625,-35.015), (2.065,-34.175,2.235,-33.325), (7.225,-34.175,7.395,-33.325), (-0.165,-0.085,4.465,0.625), (4.995,-0.085,9.625,0.625)])
A(strong_arm, li1, 3.785, -25.465, 0.6, 0.17, 4, 2, 0.43, 3.24)
A(strong_arm, li1, 2.925, -6.025, 0.6, 0.17, 8, 1, 0.43, 0)
A(strong_arm, li1, 3.785, -2.245, 0.6, 0.17, 4, 1, 0.43, 0)
R(strong_arm, li1, [(2.065,-24.925,2.665,-24.755), (2.495,-24.925,3.095,-24.755), (2.925,-24.925,3.095,-24.755), (2.925,-24.925,3.095,-24.755), (6.795,-24.925,7.395,-24.755), (6.795,-24.925,6.965,-24.755), (6.795,-24.925,6.965,-24.755), (4.215,-24.385,4.815,-24.215), (4.645,-24.385,5.245,-24.215), (4.215,-7.645,4.815,-7.475), (4.645,-7.645,5.245,-7.475)])
R(strong_arm, mcon, [(2.925,-24.925,3.095,-24.755), (6.795,-24.925,6.965,-24.755)])
A(strong_arm, met1, 2.925, -25.04, 0.6, 0.4, 9, 1, 0.43, 0)
A(strong_arm, met1, 3.785, -21.26, 0.6, 0.4, 4, 1, 0.43, 0)
R(strong_arm, met1, [(4.215,-28.28,4.815,-27.88), (4.645,-28.28,5.245,-27.88), (2.865,-25.04,3.155,-24.64), (6.735,-25.04,7.025,-24.64)])
strong_arm.add(gdstk.Reference(strong_arm_half, (0,0)))
strong_arm.add(gdstk.Reference(strong_arm_half, (9.46,0), rotation=pi, x_reflection=True))
strong_arm.add(gdstk.Label('input_p', (7.31,-25.11), layer=67, texttype=5))
strong_arm.add(gdstk.Label('input_p', (2.15,-25.11), layer=67, texttype=5))
strong_arm.add(gdstk.Label('input_n', (5.59,-25.11), layer=67, texttype=5))
strong_arm.add(gdstk.Label('input_n', (3.87,-25.11), layer=67, texttype=5))
strong_arm.add(gdstk.Label('output_p', (5.59,-15.39), layer=67, texttype=5))
strong_arm.add(gdstk.Label('output_p', (3.87,-15.39), layer=67, texttype=5))
strong_arm.add(gdstk.Label('output_n', (7.31,-15.39), layer=67, texttype=5))
strong_arm.add(gdstk.Label('output_n', (2.15,-15.39), layer=67, texttype=5))
strong_arm.add(gdstk.Label('clock', (7.31,-33.75), layer=67, texttype=5))
strong_arm.add(gdstk.Label('clock', (2.15,-33.75), layer=67, texttype=5))
strong_arm.add(gdstk.Label('vdd', (7.31,0.27), layer=67, texttype=5))
strong_arm.add(gdstk.Label('vdd', (2.15,0.27), layer=67, texttype=5))
strong_arm.add(gdstk.Label('vss', (7.31,-35.37), layer=67, texttype=5))
strong_arm.add(gdstk.Label('vss', (2.15,-35.37), layer=67, texttype=5))

lib.write_gds('strong_arm.gds')
